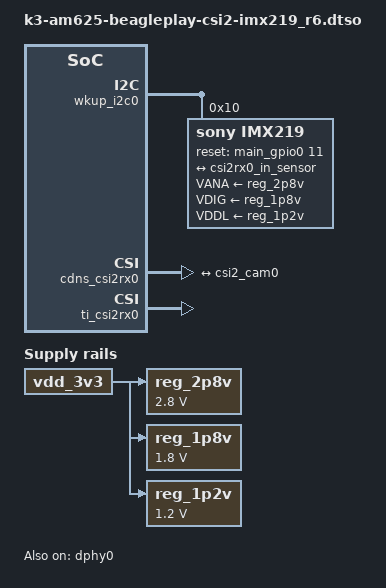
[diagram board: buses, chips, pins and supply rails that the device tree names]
// SPDX-License-Identifier: GPL-2.0-only OR MIT
/*
 * Raspberry Pi Camera Module v2 (Sony IMX219) on BeaglePlay CSI
 *
 * Based on:
 *   k3-am625-beagleplay-csi2-ov5640.dtso  (wkup_i2c0 / GPIO11 / CSI-RX)
 *   k3-am62x-sk-csi2-imx219.dtso          (IMX219 supplies / link-freq)
 *
 * Needs 15-pin ↔ 22-pin CSI adapter. IMX219 is Bayer RAW (no HW ISP on AM62x).
 */

/dts-v1/;
/plugin/;

#include <dt-bindings/gpio/gpio.h>

&{/} {
	clk_imx219_fixed: imx219-xclk {
		compatible = "fixed-clock";
		#clock-cells = <0>;
		clock-frequency = <24000000>;
	};

	reg_2p8v: regulator-2p8v {
		compatible = "regulator-fixed";
		regulator-name = "2P8V";
		regulator-min-microvolt = <2800000>;
		regulator-max-microvolt = <2800000>;
		vin-supply = <&vdd_3v3>;
		regulator-always-on;
	};

	reg_1p8v: regulator-1p8v {
		compatible = "regulator-fixed";
		regulator-name = "1P8V";
		regulator-min-microvolt = <1800000>;
		regulator-max-microvolt = <1800000>;
		vin-supply = <&vdd_3v3>;
		regulator-always-on;
	};

	reg_1p2v: regulator-1p2v {
		compatible = "regulator-fixed";
		regulator-name = "1P2V";
		regulator-min-microvolt = <1200000>;
		regulator-max-microvolt = <1200000>;
		vin-supply = <&vdd_3v3>;
		regulator-always-on;
	};
};

// &main_gpio0 {
// 	p11-hog {
// 		/* CSI2_CAMERA_GPIO1 / CAM_GPIO (XCLR) */
// 		gpio-hog;
// 		gpios = <11 GPIO_ACTIVE_HIGH>;
// 		output-high;
// 		line-name = "CSI2_CAMERA_GPIO1";
// 	};
// };

&wkup_i2c0 {
	#address-cells = <1>;
	#size-cells = <0>;
	status = "okay";

	imx219: camera@10 {
		compatible = "sony,imx219";
		reg = <0x10>;

		clocks = <&clk_imx219_fixed>;

		VANA-supply = <&reg_2p8v>;
		VDIG-supply = <&reg_1p8v>;
		VDDL-supply = <&reg_1p2v>;

		reset-gpios = <&main_gpio0 11 GPIO_ACTIVE_HIGH>;

		port {
			csi2_cam0: endpoint {
				remote-endpoint = <&csi2rx0_in_sensor>;
				link-frequencies = /bits/ 64 <456000000>;
				clock-lanes = <0>;
				data-lanes = <1 2>;
			};
		};
	};
};

&cdns_csi2rx0 {
	ports {
		#address-cells = <1>;
		#size-cells = <0>;

		csi0_port0: port@0 {
			reg = <0>;
			status = "okay";

			csi2rx0_in_sensor: endpoint {
				remote-endpoint = <&csi2_cam0>;
				bus-type = <4>; /* CSI2 DPHY */
				clock-lanes = <0>;
				data-lanes = <1 2>;
			};
		};
	};
};

&dphy0 {
	status = "okay";
};

&ti_csi2rx0 {
	status = "okay";
};
